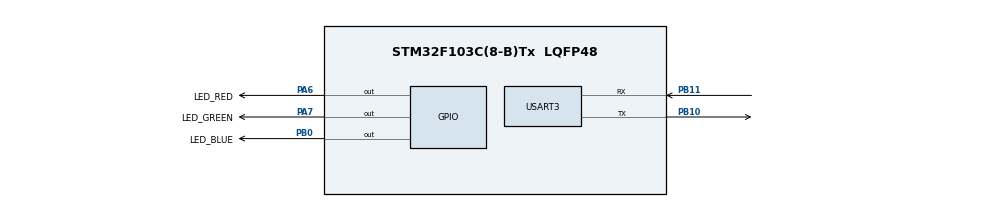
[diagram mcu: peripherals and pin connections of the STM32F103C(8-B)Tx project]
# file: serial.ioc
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Dma.Request0=USART3_TX
Dma.Request1=USART3_RX
Dma.USART3_RX.1.Direction=DMA_PERIPH_TO_MEMORY
Dma.USART3_RX.1.Instance=DMA1_Channel3
Dma.USART3_RX.1.MemDataAlignment=DMA_MDATAALIGN_BYTE
Dma.USART3_RX.1.MemInc=DMA_MINC_ENABLE
Dma.USART3_RX.1.Mode=DMA_NORMAL
Dma.USART3_RX.1.PeriphDataAlignment=DMA_PDATAALIGN_BYTE
Dma.USART3_RX.1.PeriphInc=DMA_PINC_DISABLE
Dma.USART3_RX.1.Priority=DMA_PRIORITY_LOW
Dma.USART3_TX.0.Direction=DMA_MEMORY_TO_PERIPH
Dma.USART3_TX.0.Instance=DMA1_Channel2
Dma.USART3_TX.0.MemDataAlignment=DMA_MDATAALIGN_BYTE
Dma.USART3_TX.0.MemInc=DMA_MINC_ENABLE
Dma.USART3_TX.0.Mode=DMA_NORMAL
Dma.USART3_TX.0.PeriphDataAlignment=DMA_PDATAALIGN_BYTE
Dma.USART3_TX.0.PeriphInc=DMA_PINC_DISABLE
Dma.USART3_TX.0.Priority=DMA_PRIORITY_LOW
Mcu.Family=STM32F1
Mcu.Name=STM32F103C(8-B)Tx
Mcu.Package=LQFP48
NVIC.DMA1_Channel2_IRQn=true\:0\:0\:false\:false\:true\:false\:true\:true
NVIC.DMA1_Channel3_IRQn=true\:0\:0\:false\:false\:true\:false\:true\:true
NVIC.PriorityGroup=NVIC_PRIORITYGROUP_4
NVIC.USART3_IRQn=true\:0\:0\:false\:false\:true\:true\:true\:true
PA13.Mode=Serial_Wire
PA13.Signal=SYS_JTMS-SWDIO
PA14.Mode=Serial_Wire
PA14.Signal=SYS_JTCK-SWCLK
PA6.GPIO_Label=LED_RED
PA6.Signal=GPIO_Output
PA7.GPIO_Label=LED_GREEN
PA7.Signal=GPIO_Output
PB0.GPIO_Label=LED_BLUE
PB0.Signal=GPIO_Output
PB10.Mode=Asynchronous
PB10.Signal=USART3_TX
PB11.Mode=Asynchronous
PB11.Signal=USART3_RX
ProjectManager.HeapSize=0x200
ProjectManager.StackSize=0x400
ProjectManager.TargetToolchain=STM32CubeIDE
RCC.APB1Freq_Value=8000000
RCC.APB2Freq_Value=8000000
USART3.VirtualMode=VM_ASYNC
board=custom

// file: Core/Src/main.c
/* USER CODE BEGIN Header */
/**
  ******************************************************************************
  * @file           : main.c
  * @brief          : Main program body
  ******************************************************************************
  * @attention
  *
  * Copyright (c) 2026 STMicroelectronics.
  * All rights reserved.
  *
  * This software is licensed under terms that can be found in the LICENSE file
  * in the root directory of this software component.
  * If no LICENSE file comes with this software, it is provided AS-IS.
  *
  ******************************************************************************
  */
/* USER CODE END Header */
#include "main.h"

/* USER CODE BEGIN Includes */
#include <string.h>

/* USER CODE END Includes */

UART_HandleTypeDef huart3;
DMA_HandleTypeDef hdma_usart3_tx;
DMA_HandleTypeDef hdma_usart3_rx;

/* USER CODE BEGIN PV */
uint8_t receiveData[50];
/* USER CODE END PV */

void SystemClock_Config(void);
static void MX_GPIO_Init(void);
static void MX_DMA_Init(void);
static void MX_USART3_UART_Init(void);

/* USER CODE BEGIN 0 */
void HAL_UART_RxCpltCallback(UART_HandleTypeDef *huart){
	  HAL_UART_Transmit_DMA(&huart3, receiveData, 2);
	  GPIO_PinState state = GPIO_PIN_SET;
	  if (receiveData[1] == '0'){
			  state = GPIO_PIN_RESET;
	  }
	  if (receiveData[0] == 'R'){
		  HAL_GPIO_WritePin(LED_RED_GPIO_Port, LED_RED_Pin, state);
	  }else if (receiveData[0] == 'G'){
		  HAL_GPIO_WritePin(LED_GREEN_GPIO_Port, LED_GREEN_Pin, state);
	  }else if (receiveData[0] == 'B'){
		  HAL_GPIO_WritePin(LED_BLUE_GPIO_Port, LED_BLUE_Pin, state);
	  }
	  HAL_UART_Receive_DMA(&huart3, receiveData, 2);
}

void HAL_UARTEx_RxEventCallback(UART_HandleTypeDef *huart, uint16_t Size){
	if(huart == &huart3){
		HAL_UART_Transmit_DMA(&huart3, receiveData, Size);

		HAL_UARTEx_ReceiveToIdle_DMA(&huart3, receiveData, sizeof(receiveData));
		__HAL_DMA_DISABLE_IT(&hdma_usart3_rx,DMA_IT_HT);
	}
}

/* USER CODE END 0 */

int main(void)
{

  /* MCU Configuration--------------------------------------------------------*/

  /* Reset of all peripherals, Initializes the Flash interface and the Systick. */
  HAL_Init();

  /* Configure the system clock */
  SystemClock_Config();

  /* Initialize all configured peripherals */
  MX_GPIO_Init();
  MX_DMA_Init();
  MX_USART3_UART_Init();
  /* USER CODE BEGIN 2 */

//  HAL_UART_Receive_DMA(&huart3, receiveData, 2);

  HAL_UARTEx_ReceiveToIdle_DMA(&huart3, receiveData, sizeof(receiveData));
  __HAL_DMA_DISABLE_IT(&hdma_usart3_rx,DMA_IT_HT);
  /* USER CODE END 2 */

  /* Infinite loop */
  /* USER CODE BEGIN WHILE */
  while (1)
  {
//	  HAL_UART_Receive(&huart3, receiveData, 2, HAL_MAX_DELAY);

//	  HAL_UART_Transmit(&huart3, receiveData, 2, 100);

//	  HAL_UART_Transmit(&huart3, (uint8_t*)message, strlen(message), 100);
//	  HAL_Delay(1000);
    /* USER CODE END WHILE */

  }
}

void SystemClock_Config(void)
{
  RCC_OscInitTypeDef RCC_OscInitStruct = {0};
  RCC_ClkInitTypeDef RCC_ClkInitStruct = {0};

  /** Initializes the RCC Oscillators according to the specified parameters
  * in the RCC_OscInitTypeDef structure.
  */
  RCC_OscInitStruct.OscillatorType = RCC_OSCILLATORTYPE_HSI;
  RCC_OscInitStruct.HSIState = RCC_HSI_ON;
  RCC_OscInitStruct.HSICalibrationValue = RCC_HSICALIBRATION_DEFAULT;
  RCC_OscInitStruct.PLL.PLLState = RCC_PLL_NONE;
  if (HAL_RCC_OscConfig(&RCC_OscInitStruct) != HAL_OK)
  {
    Error_Handler();
  }

  /** Initializes the CPU, AHB and APB buses clocks
  */
  RCC_ClkInitStruct.ClockType = RCC_CLOCKTYPE_HCLK|RCC_CLOCKTYPE_SYSCLK
                              |RCC_CLOCKTYPE_PCLK1|RCC_CLOCKTYPE_PCLK2;
  RCC_ClkInitStruct.SYSCLKSource = RCC_SYSCLKSOURCE_HSI;
  RCC_ClkInitStruct.AHBCLKDivider = RCC_SYSCLK_DIV1;
  RCC_ClkInitStruct.APB1CLKDivider = RCC_HCLK_DIV1;
  RCC_ClkInitStruct.APB2CLKDivider = RCC_HCLK_DIV1;

  if (HAL_RCC_ClockConfig(&RCC_ClkInitStruct, FLASH_LATENCY_0) != HAL_OK)
  {
    Error_Handler();
  }
}

static void MX_USART3_UART_Init(void)
{

  huart3.Instance = USART3;
  huart3.Init.BaudRate = 115200;
  huart3.Init.WordLength = UART_WORDLENGTH_8B;
  huart3.Init.StopBits = UART_STOPBITS_1;
  huart3.Init.Parity = UART_PARITY_NONE;
  huart3.Init.Mode = UART_MODE_TX_RX;
  huart3.Init.HwFlowCtl = UART_HWCONTROL_NONE;
  huart3.Init.OverSampling = UART_OVERSAMPLING_16;
  if (HAL_UART_Init(&huart3) != HAL_OK)
  {
    Error_Handler();
  }

}

static void MX_DMA_Init(void)
{

  /* DMA controller clock enable */
  __HAL_RCC_DMA1_CLK_ENABLE();

  /* DMA interrupt init */
  /* DMA1_Channel2_IRQn interrupt configuration */
  HAL_NVIC_SetPriority(DMA1_Channel2_IRQn, 0, 0);
  HAL_NVIC_EnableIRQ(DMA1_Channel2_IRQn);
  /* DMA1_Channel3_IRQn interrupt configuration */
  HAL_NVIC_SetPriority(DMA1_Channel3_IRQn, 0, 0);
  HAL_NVIC_EnableIRQ(DMA1_Channel3_IRQn);

}

static void MX_GPIO_Init(void)
{
  GPIO_InitTypeDef GPIO_InitStruct = {0};

  /* GPIO Ports Clock Enable */
  __HAL_RCC_GPIOA_CLK_ENABLE();
  __HAL_RCC_GPIOB_CLK_ENABLE();

  /*Configure GPIO pin Output Level */
  HAL_GPIO_WritePin(GPIOA, LED_RED_Pin|LED_GREEN_Pin, GPIO_PIN_RESET);

  /*Configure GPIO pin Output Level */
  HAL_GPIO_WritePin(LED_BLUE_GPIO_Port, LED_BLUE_Pin, GPIO_PIN_RESET);

  /*Configure GPIO pins : LED_RED_Pin LED_GREEN_Pin */
  GPIO_InitStruct.Pin = LED_RED_Pin|LED_GREEN_Pin;
  GPIO_InitStruct.Mode = GPIO_MODE_OUTPUT_PP;
  GPIO_InitStruct.Pull = GPIO_NOPULL;
  GPIO_InitStruct.Speed = GPIO_SPEED_FREQ_LOW;
  HAL_GPIO_Init(GPIOA, &GPIO_InitStruct);

  /*Configure GPIO pin : LED_BLUE_Pin */
  GPIO_InitStruct.Pin = LED_BLUE_Pin;
  GPIO_InitStruct.Mode = GPIO_MODE_OUTPUT_PP;
  GPIO_InitStruct.Pull = GPIO_NOPULL;
  GPIO_InitStruct.Speed = GPIO_SPEED_FREQ_LOW;
  HAL_GPIO_Init(LED_BLUE_GPIO_Port, &GPIO_InitStruct);

}

void Error_Handler(void)
{
  __disable_irq();
  while (1)
  {
  }
}
